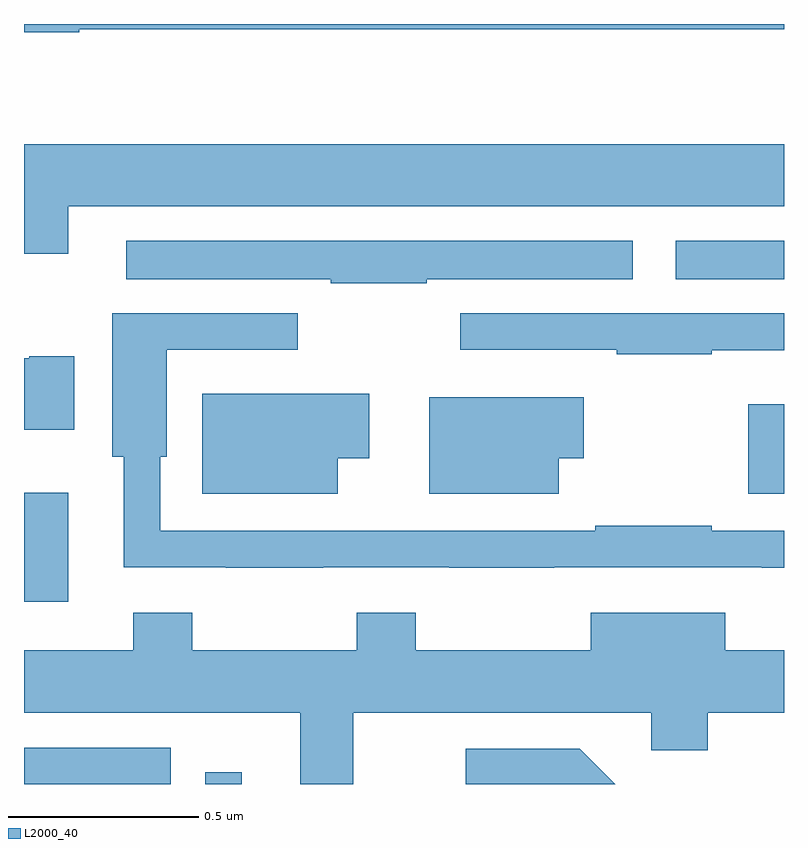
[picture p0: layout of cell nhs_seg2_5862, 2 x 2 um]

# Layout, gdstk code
import gdstk
lib = gdstk.Library(unit=1e-6, precision=1e-09)
def R(c, l, rs):  # rectangles x0, y0, x1, y1
    for r in rs: c.add(gdstk.rectangle(r[:2], r[2:], *l))
def P(c, l, *ps):  # polygons
    for p in ps: c.add(gdstk.Polygon(p, *l))
L2000_40 = (2000, 40)

nhs_seg2_5862 = lib.new_cell('nhs_seg2_5862')
R(nhs_seg2_5862, L2000_40, [(184,628.8,184.386,628.896), (184.477,628.8,184.573,628.831), (184,629.28,184.117,629.566), (185.906,629.564,186,629.8), (185.715,630.128,186,630.229)])
P(nhs_seg2_5862, L2000_40, [(184.146,630.786),(186,630.786),(186,630.8),(184,630.8),(184,630.778),(184.146,630.778)],
  [(184.117,630.32),(186,630.32),(186,630.484),(184,630.484),(184,630.196),(184.117,630.196)],
  [(185.06,630.128),(185.602,630.128),(185.602,630.229),(184.269,630.229),(184.269,630.128),(184.807,630.128),(184.807,630.118),(185.06,630.118)],
  [(185.81,629.942),(186,629.942),(186,630.039),(185.148,630.039),(185.148,629.943),(185.56,629.943),(185.56,629.931),(185.81,629.931)],
  [(184.787,629.37),(185.119,629.37),(185.119,629.369),(185.396,629.369),(185.396,629.37),(185.941,629.37),(185.941,629.369),(186,629.369),(186,629.466),(185.81,629.466),(185.81,629.479),(185.503,629.479),(185.503,629.466),(184.359,629.466),(184.359,629.661),(184.375,629.661),(184.375,629.943),(184.72,629.943),(184.72,630.039),(184.232,630.039),(184.232,629.661),(184.262,629.661),(184.262,629.37),(184.531,629.37),(184.531,629.369),(184.787,629.369)],
  [(184.132,629.926),(184.014,629.926),(184.014,629.92),(184,629.92),(184,629.732),(184.132,629.732)],
  [(184.825,629.657),(184.909,629.657),(184.909,629.827),(184.469,629.827),(184.469,629.564),(184.825,629.564)],
  [(185.407,629.657),(185.473,629.657),(185.473,629.818),(185.066,629.818),(185.066,629.564),(185.407,629.564)],
  [(184.867,628.988),(185.651,628.988),(185.651,628.889),(185.799,628.889),(185.799,628.988),(186,628.988),(186,629.152),(185.845,629.152),(185.845,629.251),(185.492,629.251),(185.492,629.152),(185.031,629.152),(185.031,629.251),(184.876,629.251),(184.876,629.152),(184.443,629.152),(184.443,629.251),(184.288,629.251),(184.288,629.152),(184,629.152),(184,628.988),(184.727,628.988),(184.727,628.8),(184.867,628.8)],
  [(185.463,628.893),(185.163,628.893),(185.163,628.8),(185.556,628.8)])

lib.write_gds('nhs_seg2_5862.gds')
